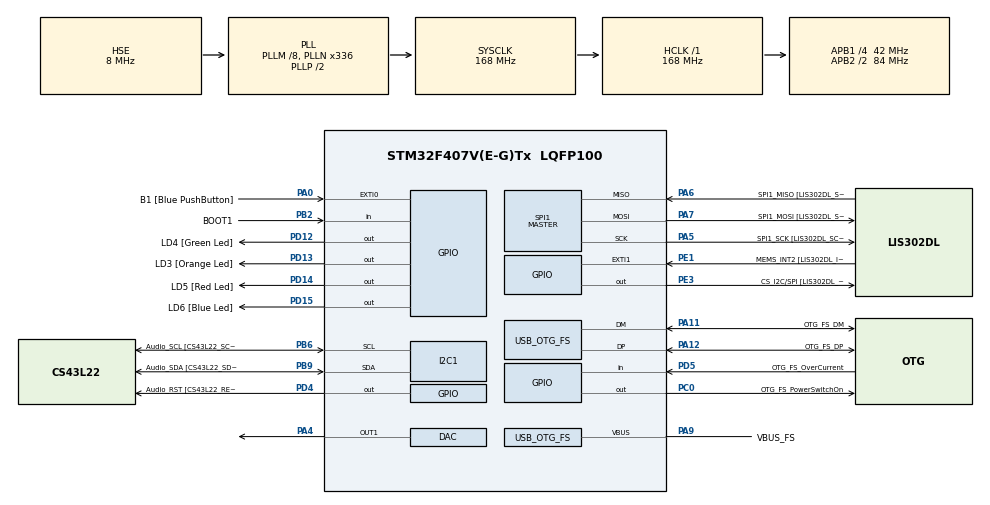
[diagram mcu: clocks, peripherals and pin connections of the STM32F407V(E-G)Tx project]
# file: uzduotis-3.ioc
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DAC.DAC_OutputBuffer=DAC_OUTPUTBUFFER_ENABLE
Mcu.Family=STM32F4
Mcu.Name=STM32F407V(E-G)Tx
Mcu.Package=LQFP100
NVIC.EXTI0_IRQn=true\:0\:0\:false\:false\:true\:true\:true
NVIC.OTG_FS_IRQn=true\:0\:0\:false\:false\:true\:true\:true
NVIC.PriorityGroup=NVIC_PRIORITYGROUP_0
PA0-WKUP.GPIO_Label=B1 [Blue PushButton]
PA0-WKUP.GPIO_ModeDefaultEXTI=GPIO_MODE_IT_FALLING
PA0-WKUP.GPIO_PuPd=GPIO_NOPULL
PA0-WKUP.Signal=GPXTI0
PA10.GPIO_Label=OTG_FS_ID
PA10.GPIO_Mode=GPIO_MODE_AF_PP
PA10.GPIO_PuPd=GPIO_NOPULL
PA10.GPIO_Speed=GPIO_SPEED_FREQ_LOW
PA10.Signal=USB_OTG_FS_ID
PA11.GPIO_Label=OTG_FS_DM
PA11.GPIO_Mode=GPIO_MODE_AF_PP
PA11.GPIO_PuPd=GPIO_NOPULL
PA11.GPIO_Speed=GPIO_SPEED_FREQ_LOW
PA11.Mode=Host_Only
PA11.Signal=USB_OTG_FS_DM
PA12.GPIO_Label=OTG_FS_DP
PA12.GPIO_Mode=GPIO_MODE_AF_PP
PA12.GPIO_PuPd=GPIO_NOPULL
PA12.GPIO_Speed=GPIO_SPEED_FREQ_LOW
PA12.Mode=Host_Only
PA12.Signal=USB_OTG_FS_DP
PA13.GPIO_Label=SWDIO
PA13.Mode=Serial_Wire
PA13.Signal=SYS_JTMS-SWDIO
PA14.GPIO_Label=SWCLK
PA14.Mode=Serial_Wire
PA14.Signal=SYS_JTCK-SWCLK
PA4.Signal=COMP_DAC1_group
PA5.GPIO_Label=SPI1_SCK [LIS302DL_SCL/SPC]
PA5.GPIO_Mode=GPIO_MODE_AF_PP
PA5.GPIO_PuPd=GPIO_NOPULL
PA5.GPIO_Speed=GPIO_SPEED_FREQ_LOW
PA5.Mode=Full_Duplex_Master
PA5.Signal=SPI1_SCK
PA6.GPIO_Label=SPI1_MISO [LIS302DL_SDO]
PA6.GPIO_Mode=GPIO_MODE_AF_PP
PA6.GPIO_PuPd=GPIO_NOPULL
PA6.GPIO_Speed=GPIO_SPEED_FREQ_LOW
PA6.Mode=Full_Duplex_Master
PA6.Signal=SPI1_MISO
PA7.GPIO_Label=SPI1_MOSI [LIS302DL_SDA/SDI/SDO]
PA7.GPIO_Mode=GPIO_MODE_AF_PP
PA7.GPIO_PuPd=GPIO_NOPULL
PA7.GPIO_Speed=GPIO_SPEED_FREQ_LOW
PA7.Mode=Full_Duplex_Master
PA7.Signal=SPI1_MOSI
PA9.GPIO_Label=VBUS_FS
PA9.GPIO_Mode=GPIO_MODE_INPUT
PA9.GPIO_PuPd=GPIO_NOPULL
PA9.Mode=Activate_VBUS
PA9.Signal=USB_OTG_FS_VBUS
PB10.GPIO_Label=CLK_IN [MP45DT02_CLK]
PB10.GPIO_Mode=GPIO_MODE_AF_PP
PB10.GPIO_PuPd=GPIO_NOPULL
PB10.GPIO_Speed=GPIO_SPEED_FREQ_LOW
PB10.Signal=I2S2_CK
PB2.GPIO_Label=BOOT1
PB2.GPIO_Mode=GPIO_MODE_INPUT
PB2.GPIO_PuPd=GPIO_NOPULL
PB2.Signal=GPIO_Input
PB3.GPIO_Label=SWO
PB3.Signal=SYS_JTDO-SWO
PB6.GPIO_Label=Audio_SCL [CS43L22_SCL]
PB6.GPIO_Mode=GPIO_MODE_AF_OD
PB6.GPIO_Pu=GPIO_PULLUP
PB6.GPIO_PuPd=GPIO_NOPULL
PB6.GPIO_Speed=GPIO_SPEED_FREQ_LOW
PB6.Mode=I2C
PB6.Signal=I2C1_SCL
PB9.GPIO_Label=Audio_SDA [CS43L22_SDA]
PB9.GPIO_Mode=GPIO_MODE_AF_OD
PB9.GPIO_Pu=GPIO_PULLUP
PB9.GPIO_PuPd=GPIO_NOPULL
PB9.GPIO_Speed=GPIO_SPEED_FREQ_LOW
PB9.Mode=I2C
PB9.Signal=I2C1_SDA
PC0.GPIO_Label=OTG_FS_PowerSwitchOn
PC0.GPIO_PuPd=GPIO_NOPULL
PC0.GPIO_Speed=GPIO_SPEED_FREQ_LOW
PC0.PinState=GPIO_PIN_SET
PC0.Signal=GPIO_Output
PC10.GPIO_Label=I2S3_SCK [CS43L22_SCLK]
PC10.GPIO_Mode=GPIO_MODE_AF_PP
PC10.GPIO_PuPd=GPIO_NOPULL
PC10.GPIO_Speed=GPIO_SPEED_FREQ_LOW
PC10.Signal=I2S3_CK
PC12.GPIO_Label=I2S3_SD [CS43L22_SDIN]
PC12.GPIO_Mode=GPIO_MODE_AF_PP
PC12.GPIO_PuPd=GPIO_NOPULL
PC12.GPIO_Speed=GPIO_SPEED_FREQ_LOW
PC12.Signal=I2S3_SD
PC14-OSC32_IN.GPIO_Label=PC14-OSC32_IN
PC14-OSC32_IN.Mode=LSE-External-Oscillator
PC14-OSC32_IN.Signal=RCC_OSC32_IN
PC15-OSC32_OUT.GPIO_Label=PC15-OSC32_OUT
PC15-OSC32_OUT.Mode=LSE-External-Oscillator
PC15-OSC32_OUT.Signal=RCC_OSC32_OUT
PC3.GPIO_Label=PDM_OUT [MP45DT02_DOUT]
PC3.GPIO_Mode=GPIO_MODE_AF_PP
PC3.GPIO_PuPd=GPIO_NOPULL
PC3.GPIO_Speed=GPIO_SPEED_FREQ_LOW
PC3.Signal=I2S2_SD
PC7.GPIO_Label=I2S3_MCK [CS43L22_MCLK]
PC7.GPIO_Mode=GPIO_MODE_AF_PP
PC7.GPIO_PuPd=GPIO_NOPULL
PC7.GPIO_Speed=GPIO_SPEED_FREQ_LOW
PC7.Signal=I2S3_MCK
PD12.GPIO_Label=LD4 [Green Led]
PD12.GPIO_PuPd=GPIO_NOPULL
PD12.GPIO_Speed=GPIO_SPEED_FREQ_LOW
PD12.Signal=GPIO_Output
PD13.GPIO_Label=LD3 [Orange Led]
PD13.GPIO_PuPd=GPIO_NOPULL
PD13.GPIO_Speed=GPIO_SPEED_FREQ_LOW
PD13.Signal=GPIO_Output
PD14.GPIO_Label=LD5 [Red Led]
PD14.GPIO_PuPd=GPIO_NOPULL
PD14.GPIO_Speed=GPIO_SPEED_FREQ_LOW
PD14.Signal=GPIO_Output
PD15.GPIO_Label=LD6 [Blue Led]
PD15.GPIO_PuPd=GPIO_NOPULL
PD15.GPIO_Speed=GPIO_SPEED_FREQ_LOW
PD15.Signal=GPIO_Output
PD4.GPIO_Label=Audio_RST [CS43L22_RESET]
PD4.GPIO_PuPd=GPIO_NOPULL
PD4.GPIO_Speed=GPIO_SPEED_FREQ_LOW
PD4.Signal=GPIO_Output
PD5.GPIO_Label=OTG_FS_OverCurrent
PD5.GPIO_Mode=GPIO_MODE_INPUT
PD5.GPIO_PuPd=GPIO_NOPULL
PD5.Signal=GPIO_Input
PE1.GPIO_Label=MEMS_INT2 [LIS302DL_INT2]
PE1.GPIO_ModeDefaultEXTI=GPIO_MODE_EVT_RISING
PE1.GPIO_PuPd=GPIO_NOPULL
PE1.Signal=GPXTI1
PE3.GPIO_Label=CS_I2C/SPI [LIS302DL_CS_I2C/SPI]
PE3.GPIO_PuPd=GPIO_NOPULL
PE3.GPIO_Speed=GPIO_SPEED_FREQ_LOW
PE3.Signal=GPIO_Output
PH0-OSC_IN.GPIO_Label=PH0-OSC_IN
PH0-OSC_IN.Mode=HSE-External-Oscillator
PH0-OSC_IN.Signal=RCC_OSC_IN
PH1-OSC_OUT.GPIO_Label=PH1-OSC_OUT
PH1-OSC_OUT.Mode=HSE-External-Oscillator
PH1-OSC_OUT.Signal=RCC_OSC_OUT
ProjectManager.HeapSize=0x200
ProjectManager.StackSize=0x400
ProjectManager.TargetToolchain=STM32CubeIDE
RCC.48MHZClocksFreq_Value=48000000
RCC.AHBFreq_Value=168000000
RCC.APB1CLKDivider=RCC_HCLK_DIV4
RCC.APB1Freq_Value=42000000
RCC.APB1TimFreq_Value=84000000
RCC.APB2CLKDivider=RCC_HCLK_DIV2
RCC.APB2Freq_Value=84000000
RCC.APB2TimFreq_Value=168000000
RCC.CortexFreq_Value=168000000
RCC.HCLKFreq_Value=168000000
RCC.HSE_VALUE=8000000
RCC.HSI_VALUE=16000000
RCC.PLLM=8
RCC.PLLN=336
RCC.PLLQ=7
RCC.SYSCLKFreq_VALUE=168000000
RCC.SYSCLKSource=RCC_SYSCLKSOURCE_PLLCLK
RCC.VCOOutputFreq_Value=336000000
SH.COMP_DAC1_group.0=DAC_OUT1,DAC_OUT1
SPI1.BaudRatePrescaler-Full_Duplex_Master=SPI_BAUDRATEPRESCALER_2
SPI1.CalculateBaudRate-Full_Duplex_Master=42.0 MBits/s
SPI1.Direction=SPI_DIRECTION_2LINES
SPI1.Mode=SPI_MODE_MASTER
SPI1.Mode-Full_Duplex_Master=SPI_MODE_MASTER
SPI1.VirtualType=VM_MASTER
USB_OTG_FS.VirtualMode=Host_Only
USB_OTG_FS.phy_itface=HCD_PHY_EMBEDDED
board=STM32F407G-DISC1

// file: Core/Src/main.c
/* USER CODE BEGIN Header */
/**
  ******************************************************************************
  * @file           : main.c
  * @brief          : Main program body
  ******************************************************************************
  * @attention
  *
  * Copyright (c) 2022 STMicroelectronics.
  * All rights reserved.
  *
  * This software is licensed under terms that can be found in the LICENSE file
  * in the root directory of this software component.
  * If no LICENSE file comes with this software, it is provided AS-IS.
  *
  ******************************************************************************
  */
/* USER CODE END Header */
#include "main.h"

DAC_HandleTypeDef hdac;

I2C_HandleTypeDef hi2c1;

SPI_HandleTypeDef hspi1;

HCD_HandleTypeDef hhcd_USB_OTG_FS;

/* USER CODE BEGIN PV */
static volatile uint8_t num_presses = 0;
/* USER CODE END PV */

void SystemClock_Config(void);
static void MX_GPIO_Init(void);
static void MX_I2C1_Init(void);
static void MX_SPI1_Init(void);
static void MX_USB_OTG_FS_HCD_Init(void);
static void MX_DAC_Init(void);

int main(void)
{

  /* MCU Configuration--------------------------------------------------------*/

  /* Reset of all peripherals, Initializes the Flash interface and the Systick. */
  HAL_Init();

  /* Configure the system clock */
  SystemClock_Config();

  /* Initialize all configured peripherals */
  MX_GPIO_Init();
  MX_I2C1_Init();
  MX_SPI1_Init();
  MX_USB_OTG_FS_HCD_Init();
  MX_DAC_Init();
  /* USER CODE BEGIN 2 */
  HAL_DAC_Start(&hdac, DAC_CHANNEL_1);
  uint32_t v_dig;

  /* USER CODE END 2 */

  /* Infinite loop */
  while (1)
  {

    /* USER CODE BEGIN 3 */
	  //Set DAC value according to number of button presses
	  switch(num_presses){
	  	  case 0 :
			v_dig = 0;
			HAL_DAC_SetValue(&hdac, DAC_CHANNEL_1, DAC_ALIGN_12B_R, v_dig);
			break;

	  	  case 1 :
			v_dig = (uint32_t) (0.75 * 4096) / 3.0;
			HAL_DAC_SetValue(&hdac, DAC_CHANNEL_1, DAC_ALIGN_12B_R, v_dig);
			break;

	  	  case 2 :
			v_dig = (uint32_t) (1.5 * 4096) / 3.0;
			HAL_DAC_SetValue(&hdac, DAC_CHANNEL_1, DAC_ALIGN_12B_R, v_dig);
			break;

	  	  case 3 :
			v_dig = (uint32_t) (2.25 * 4096) / 3.0;
			HAL_DAC_SetValue(&hdac, DAC_CHANNEL_1, DAC_ALIGN_12B_R, v_dig);
			break;

	  	  case 4 :
			v_dig = 4095;
			HAL_DAC_SetValue(&hdac, DAC_CHANNEL_1, DAC_ALIGN_12B_R, v_dig);
			break;

	  	  default:
			v_dig = 0;
			HAL_DAC_SetValue(&hdac, DAC_CHANNEL_1, DAC_ALIGN_12B_R, v_dig);
			break;
	  }
  }
  /* USER CODE END 3 */
}

void SystemClock_Config(void)
{
  RCC_OscInitTypeDef RCC_OscInitStruct = {0};
  RCC_ClkInitTypeDef RCC_ClkInitStruct = {0};

  /** Configure the main internal regulator output voltage
  */
  __HAL_RCC_PWR_CLK_ENABLE();
  __HAL_PWR_VOLTAGESCALING_CONFIG(PWR_REGULATOR_VOLTAGE_SCALE1);
  /** Initializes the RCC Oscillators according to the specified parameters
  * in the RCC_OscInitTypeDef structure.
  */
  RCC_OscInitStruct.OscillatorType = RCC_OSCILLATORTYPE_HSE;
  RCC_OscInitStruct.HSEState = RCC_HSE_ON;
  RCC_OscInitStruct.PLL.PLLState = RCC_PLL_ON;
  RCC_OscInitStruct.PLL.PLLSource = RCC_PLLSOURCE_HSE;
  RCC_OscInitStruct.PLL.PLLM = 8;
  RCC_OscInitStruct.PLL.PLLN = 336;
  RCC_OscInitStruct.PLL.PLLP = RCC_PLLP_DIV2;
  RCC_OscInitStruct.PLL.PLLQ = 7;
  if (HAL_RCC_OscConfig(&RCC_OscInitStruct) != HAL_OK)
  {
    Error_Handler();
  }
  /** Initializes the CPU, AHB and APB buses clocks
  */
  RCC_ClkInitStruct.ClockType = RCC_CLOCKTYPE_HCLK|RCC_CLOCKTYPE_SYSCLK
                              |RCC_CLOCKTYPE_PCLK1|RCC_CLOCKTYPE_PCLK2;
  RCC_ClkInitStruct.SYSCLKSource = RCC_SYSCLKSOURCE_PLLCLK;
  RCC_ClkInitStruct.AHBCLKDivider = RCC_SYSCLK_DIV1;
  RCC_ClkInitStruct.APB1CLKDivider = RCC_HCLK_DIV4;
  RCC_ClkInitStruct.APB2CLKDivider = RCC_HCLK_DIV2;

  if (HAL_RCC_ClockConfig(&RCC_ClkInitStruct, FLASH_LATENCY_5) != HAL_OK)
  {
    Error_Handler();
  }
}

static void MX_DAC_Init(void)
{

  DAC_ChannelConfTypeDef sConfig = {0};

  /** DAC Initialization
  */
  hdac.Instance = DAC;
  if (HAL_DAC_Init(&hdac) != HAL_OK)
  {
    Error_Handler();
  }
  /** DAC channel OUT1 config
  */
  sConfig.DAC_Trigger = DAC_TRIGGER_NONE;
  sConfig.DAC_OutputBuffer = DAC_OUTPUTBUFFER_ENABLE;
  if (HAL_DAC_ConfigChannel(&hdac, &sConfig, DAC_CHANNEL_1) != HAL_OK)
  {
    Error_Handler();
  }

}

static void MX_I2C1_Init(void)
{

  hi2c1.Instance = I2C1;
  hi2c1.Init.ClockSpeed = 100000;
  hi2c1.Init.DutyCycle = I2C_DUTYCYCLE_2;
  hi2c1.Init.OwnAddress1 = 0;
  hi2c1.Init.AddressingMode = I2C_ADDRESSINGMODE_7BIT;
  hi2c1.Init.DualAddressMode = I2C_DUALADDRESS_DISABLE;
  hi2c1.Init.OwnAddress2 = 0;
  hi2c1.Init.GeneralCallMode = I2C_GENERALCALL_DISABLE;
  hi2c1.Init.NoStretchMode = I2C_NOSTRETCH_DISABLE;
  if (HAL_I2C_Init(&hi2c1) != HAL_OK)
  {
    Error_Handler();
  }

}

static void MX_SPI1_Init(void)
{

  /* SPI1 parameter configuration*/
  hspi1.Instance = SPI1;
  hspi1.Init.Mode = SPI_MODE_MASTER;
  hspi1.Init.Direction = SPI_DIRECTION_2LINES;
  hspi1.Init.DataSize = SPI_DATASIZE_8BIT;
  hspi1.Init.CLKPolarity = SPI_POLARITY_LOW;
  hspi1.Init.CLKPhase = SPI_PHASE_1EDGE;
  hspi1.Init.NSS = SPI_NSS_SOFT;
  hspi1.Init.BaudRatePrescaler = SPI_BAUDRATEPRESCALER_2;
  hspi1.Init.FirstBit = SPI_FIRSTBIT_MSB;
  hspi1.Init.TIMode = SPI_TIMODE_DISABLE;
  hspi1.Init.CRCCalculation = SPI_CRCCALCULATION_DISABLE;
  hspi1.Init.CRCPolynomial = 10;
  if (HAL_SPI_Init(&hspi1) != HAL_OK)
  {
    Error_Handler();
  }

}

static void MX_USB_OTG_FS_HCD_Init(void)
{

  hhcd_USB_OTG_FS.Instance = USB_OTG_FS;
  hhcd_USB_OTG_FS.Init.Host_channels = 8;
  hhcd_USB_OTG_FS.Init.speed = HCD_SPEED_FULL;
  hhcd_USB_OTG_FS.Init.dma_enable = DISABLE;
  hhcd_USB_OTG_FS.Init.phy_itface = HCD_PHY_EMBEDDED;
  hhcd_USB_OTG_FS.Init.Sof_enable = DISABLE;
  if (HAL_HCD_Init(&hhcd_USB_OTG_FS) != HAL_OK)
  {
    Error_Handler();
  }

}

static void MX_GPIO_Init(void)
{
  GPIO_InitTypeDef GPIO_InitStruct = {0};

  /* GPIO Ports Clock Enable */
  __HAL_RCC_GPIOE_CLK_ENABLE();
  __HAL_RCC_GPIOC_CLK_ENABLE();
  __HAL_RCC_GPIOH_CLK_ENABLE();
  __HAL_RCC_GPIOA_CLK_ENABLE();
  __HAL_RCC_GPIOB_CLK_ENABLE();
  __HAL_RCC_GPIOD_CLK_ENABLE();

  /*Configure GPIO pin Output Level */
  HAL_GPIO_WritePin(CS_I2C_SPI_GPIO_Port, CS_I2C_SPI_Pin, GPIO_PIN_RESET);

  /*Configure GPIO pin Output Level */
  HAL_GPIO_WritePin(OTG_FS_PowerSwitchOn_GPIO_Port, OTG_FS_PowerSwitchOn_Pin, GPIO_PIN_SET);

  /*Configure GPIO pin Output Level */
  HAL_GPIO_WritePin(GPIOD, LD4_Pin|LD3_Pin|LD5_Pin|LD6_Pin
                          |Audio_RST_Pin, GPIO_PIN_RESET);

  /*Configure GPIO pin : CS_I2C_SPI_Pin */
  GPIO_InitStruct.Pin = CS_I2C_SPI_Pin;
  GPIO_InitStruct.Mode = GPIO_MODE_OUTPUT_PP;
  GPIO_InitStruct.Pull = GPIO_NOPULL;
  GPIO_InitStruct.Speed = GPIO_SPEED_FREQ_LOW;
  HAL_GPIO_Init(CS_I2C_SPI_GPIO_Port, &GPIO_InitStruct);

  /*Configure GPIO pin : OTG_FS_PowerSwitchOn_Pin */
  GPIO_InitStruct.Pin = OTG_FS_PowerSwitchOn_Pin;
  GPIO_InitStruct.Mode = GPIO_MODE_OUTPUT_PP;
  GPIO_InitStruct.Pull = GPIO_NOPULL;
  GPIO_InitStruct.Speed = GPIO_SPEED_FREQ_LOW;
  HAL_GPIO_Init(OTG_FS_PowerSwitchOn_GPIO_Port, &GPIO_InitStruct);

  /*Configure GPIO pin : PDM_OUT_Pin */
  GPIO_InitStruct.Pin = PDM_OUT_Pin;
  GPIO_InitStruct.Mode = GPIO_MODE_AF_PP;
  GPIO_InitStruct.Pull = GPIO_NOPULL;
  GPIO_InitStruct.Speed = GPIO_SPEED_FREQ_LOW;
  GPIO_InitStruct.Alternate = GPIO_AF5_SPI2;
  HAL_GPIO_Init(PDM_OUT_GPIO_Port, &GPIO_InitStruct);

  /*Configure GPIO pin : B1_Pin */
  GPIO_InitStruct.Pin = B1_Pin;
  GPIO_InitStruct.Mode = GPIO_MODE_IT_FALLING;
  GPIO_InitStruct.Pull = GPIO_NOPULL;
  HAL_GPIO_Init(B1_GPIO_Port, &GPIO_InitStruct);

  /*Configure GPIO pin : BOOT1_Pin */
  GPIO_InitStruct.Pin = BOOT1_Pin;
  GPIO_InitStruct.Mode = GPIO_MODE_INPUT;
  GPIO_InitStruct.Pull = GPIO_NOPULL;
  HAL_GPIO_Init(BOOT1_GPIO_Port, &GPIO_InitStruct);

  /*Configure GPIO pin : CLK_IN_Pin */
  GPIO_InitStruct.Pin = CLK_IN_Pin;
  GPIO_InitStruct.Mode = GPIO_MODE_AF_PP;
  GPIO_InitStruct.Pull = GPIO_NOPULL;
  GPIO_InitStruct.Speed = GPIO_SPEED_FREQ_LOW;
  GPIO_InitStruct.Alternate = GPIO_AF5_SPI2;
  HAL_GPIO_Init(CLK_IN_GPIO_Port, &GPIO_InitStruct);

  /*Configure GPIO pins : LD4_Pin LD3_Pin LD5_Pin LD6_Pin
                           Audio_RST_Pin */
  GPIO_InitStruct.Pin = LD4_Pin|LD3_Pin|LD5_Pin|LD6_Pin
                          |Audio_RST_Pin;
  GPIO_InitStruct.Mode = GPIO_MODE_OUTPUT_PP;
  GPIO_InitStruct.Pull = GPIO_NOPULL;
  GPIO_InitStruct.Speed = GPIO_SPEED_FREQ_LOW;
  HAL_GPIO_Init(GPIOD, &GPIO_InitStruct);

  /*Configure GPIO pins : I2S3_MCK_Pin I2S3_SCK_Pin I2S3_SD_Pin */
  GPIO_InitStruct.Pin = I2S3_MCK_Pin|I2S3_SCK_Pin|I2S3_SD_Pin;
  GPIO_InitStruct.Mode = GPIO_MODE_AF_PP;
  GPIO_InitStruct.Pull = GPIO_NOPULL;
  GPIO_InitStruct.Speed = GPIO_SPEED_FREQ_LOW;
  GPIO_InitStruct.Alternate = GPIO_AF6_SPI3;
  HAL_GPIO_Init(GPIOC, &GPIO_InitStruct);

  /*Configure GPIO pin : OTG_FS_OverCurrent_Pin */
  GPIO_InitStruct.Pin = OTG_FS_OverCurrent_Pin;
  GPIO_InitStruct.Mode = GPIO_MODE_INPUT;
  GPIO_InitStruct.Pull = GPIO_NOPULL;
  HAL_GPIO_Init(OTG_FS_OverCurrent_GPIO_Port, &GPIO_InitStruct);

  /*Configure GPIO pin : MEMS_INT2_Pin */
  GPIO_InitStruct.Pin = MEMS_INT2_Pin;
  GPIO_InitStruct.Mode = GPIO_MODE_EVT_RISING;
  GPIO_InitStruct.Pull = GPIO_NOPULL;
  HAL_GPIO_Init(MEMS_INT2_GPIO_Port, &GPIO_InitStruct);

  /* EXTI interrupt init*/
  HAL_NVIC_SetPriority(EXTI0_IRQn, 0, 0);
  HAL_NVIC_EnableIRQ(EXTI0_IRQn);

}

/* USER CODE BEGIN 4 */
void HAL_GPIO_EXTI_Callback(uint16_t GPIO_Pin)
{
//	Check if the button was pressed
	if(B1_Pin == GPIO_Pin){
		// Toggle LED to indicate button press
		HAL_GPIO_TogglePin(LD3_GPIO_Port, LD3_Pin);
		// Increase pressed button count and roll over if pressed five times
		num_presses++;
		if(num_presses == 5){
			num_presses = 0;
		}

	}
}

/* USER CODE END 4 */

void Error_Handler(void)
{
  __disable_irq();
  while (1)
  {
  }
}
